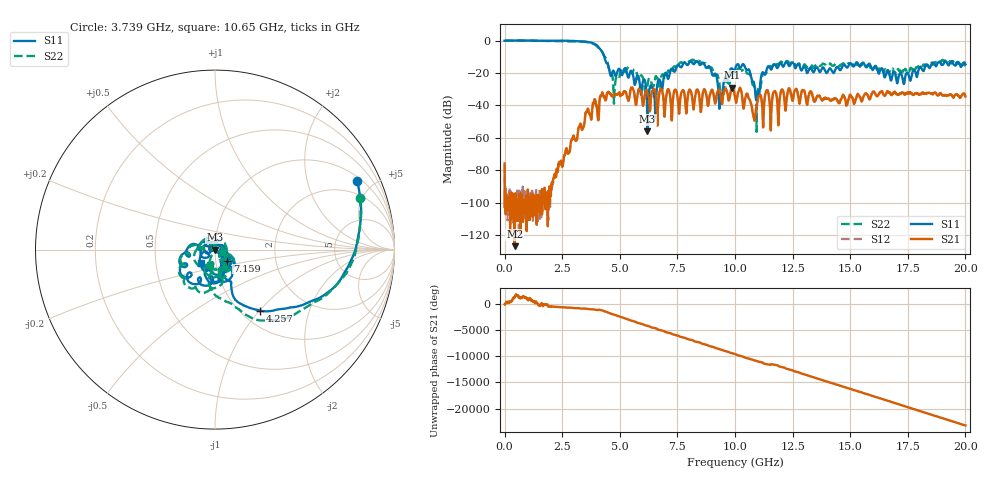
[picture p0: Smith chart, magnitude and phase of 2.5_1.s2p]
#  HZ  S  RI  R  50.00
! Rohde & Schwarz Vector Network Analyzer
! Rohde-Schwarz,ZNB20-2Port,1311601062102128,3.60
! Created: UTC 4/29/2024, 2:52:19 PM
! freq[Hz]  re:S11  im:S11  re:S21  im:S21  re:S12  im:S12  re:S22  im:S22
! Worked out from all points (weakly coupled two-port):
!   2007 points, 100 kHz to 20 GHz, reference 50 ohm
!   highest |S21| = -28.93 dB at 9.87 GHz (marker M1); lowest = -126.8 dB at 438.8 MHz (marker M2)
!   lowest |S11| = -55.9 dB at 6.201 GHz (marker M3), VSWR 1.00, Z = 49.8 - j0.0495 ohm
!   |S11| at or under -10 dB: 4.329 GHz to end of sweep
!   |S22| runs from -56.3 to 0.1 dB; largest |S21 - S12| = 0.002
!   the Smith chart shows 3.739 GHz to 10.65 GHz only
!   S11 on the Smith chart (normalised r, x): 3.739 GHz: 1.21, +4.03; 4.257 GHz: 1.22, -1.01; 7.159 GHz: 1.14, -0.14; 10.65 GHz: 0.85, -0.13
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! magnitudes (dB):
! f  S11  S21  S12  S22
! 100 kHz  0.0  -75.8  -76.2  0.1
! 438.8 MHz  0.0  -126.8  -99.8  0.0
! 2.223 GHz  -0.1  -81.5  -83.9  -0.3
! 3.34 GHz  -0.6  -54.3  -54.0  -0.6
! 3.739 GHz  -1.1  -47.5  -47.4  -1.3
! 4.257 GHz  -7.5  -33.0  -32.6  -7.6
! 4.766 GHz  -19.8  -33.4  -33.4  -32.7
! 5.364 GHz  -22.7  -36.7  -36.6  -16.3
! 6.201 GHz  -55.9  -32.4  -32.5  -27.4
! 6.67 GHz  -24.5  -37.8  -38.1  -25.7
! 7.159 GHz  -20.8  -32.1  -32.1  -19.2
! 8.614 GHz  -13.6  -31.8  -31.7  -14.3
! 9.153 GHz  -20.6  -38.5  -38.5  -21.8
! 9.372 GHz  -35.9  -33.7  -33.7  -33.6
! 9.87 GHz  -17.2  -28.9  -28.9  -20.0
! 10 GHz  -17.9  -34.5  -34.5  -20.4
! 10.65 GHz  -19.4  -37.1  -37.0  -20.9
! 10.97 GHz  -32.0  -37.8  -37.8  -33.7
! 11.71 GHz  -14.5  -31.5  -31.6  -14.0
! 13.34 GHz  -18.0  -32.7  -32.7  -15.3
! 16.67 GHz  -19.1  -31.8  -31.8  -20.5
! 20 GHz  -14.6  -34.5  -34.5  -14.3
